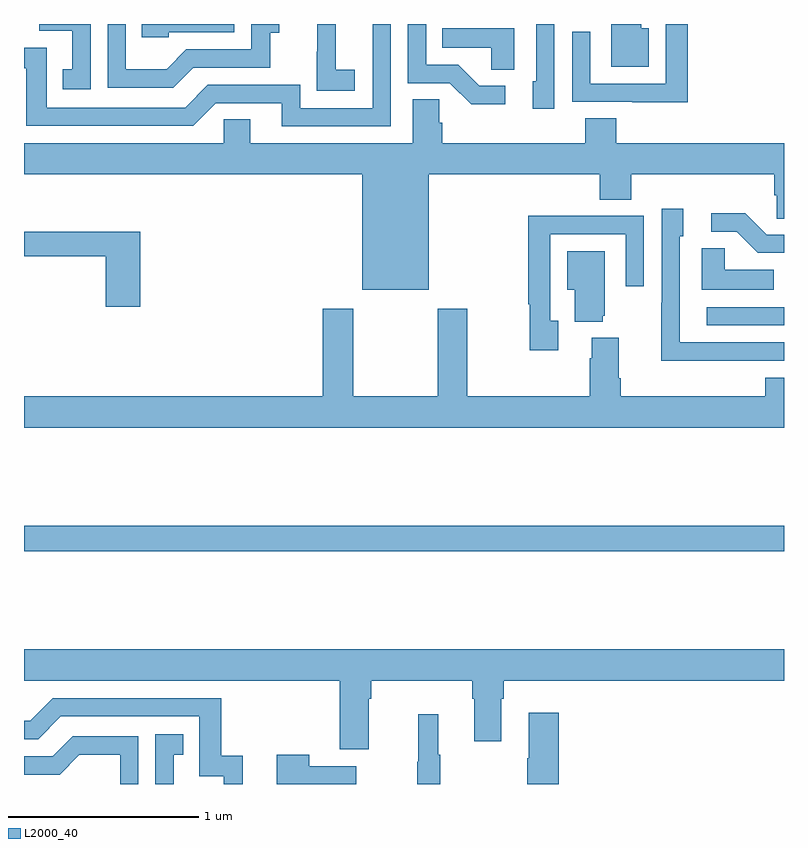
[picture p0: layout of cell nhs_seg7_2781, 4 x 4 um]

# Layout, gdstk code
import gdstk
lib = gdstk.Library(unit=1e-6, precision=1e-09)
def R(c, l, rs):  # rectangles x0, y0, x1, y1
    for r in rs: c.add(gdstk.rectangle(r[:2], r[2:], *l))
def P(c, l, *ps):  # polygons
    for p in ps: c.add(gdstk.Polygon(p, *l))
L2000_40 = (2000, 40)

nhs_seg7_2781 = lib.new_cell('nhs_seg7_2781')
R(nhs_seg7_2781, L2000_40, [(289,1073.224,293,1073.36), (292.593,1074.414,293,1074.51)])
P(nhs_seg7_2781, L2000_40, [(292.493,1076),(292.377,1076),(292.377,1075.686),(291.981,1075.686),(291.981,1075.96),(291.885,1075.96),(291.885,1075.59),(292.201,1075.59),(292.201,1075.589),(292.493,1075.589)],
  [(292.288,1075.978),(292.249,1075.978),(292.249,1076),(292.091,1076),(292.091,1075.775),(292.288,1075.775)],
  [(290.74,1075.759),(290.642,1075.759),(290.642,1075.988),(290.64,1075.988),(290.64,1076),(290.543,1076),(290.543,1075.855),(290.542,1075.855),(290.542,1075.649),(290.74,1075.649)],
  [(289.761,1075.956),(290.106,1075.956),(290.106,1076),(289.621,1076),(289.621,1075.929),(289.761,1075.929)],
  [(291.532,1075.674),(291.397,1075.674),(291.286,1075.785),(291.117,1075.785),(291.117,1076),(291.021,1076),(291.021,1075.689),(291.24,1075.689),(291.353,1075.577),(291.532,1075.577)],
  [(289.35,1076),(289.08,1076),(289.08,1075.965),(289.253,1075.965),(289.253,1075.761),(289.204,1075.761),(289.204,1075.656),(289.35,1075.656)],
  [(289.891,1075.77),(290.295,1075.77),(290.295,1075.955),(290.344,1075.955),(290.344,1076),(290.196,1076),(290.196,1075.866),(289.854,1075.866),(289.75,1075.762),(289.536,1075.762),(289.536,1076),(289.44,1076),(289.44,1075.665),(289.786,1075.665)],
  [(291.792,1076),(291.696,1076),(291.696,1075.698),(291.677,1075.698),(291.677,1075.554),(291.792,1075.554)],
  [(290.931,1076),(290.835,1076),(290.835,1075.557),(290.454,1075.557),(290.454,1075.68),(289.968,1075.68),(289.848,1075.56),(289.119,1075.56),(289.119,1075.875),(289,1075.875),(289,1075.767),(289.011,1075.767),(289.011,1075.464),(289.89,1075.464),(290.01,1075.584),(290.357,1075.584),(290.357,1075.461),(290.931,1075.461)],
  [(291.58,1075.978),(291.202,1075.978),(291.202,1075.874),(291.459,1075.874),(291.459,1075.759),(291.58,1075.759)],
  [(292.031,1075.075),(292.196,1075.075),(292.196,1075.208),(292.949,1075.208),(292.949,1075.099),(292.962,1075.099),(292.962,1074.976),(293,1074.976),(293,1075.372),(292.118,1075.372),(292.118,1075.505),(291.953,1075.505),(291.953,1075.372),(291.2,1075.372),(291.2,1075.481),(291.186,1075.481),(291.186,1075.604),(291.047,1075.604),(291.047,1075.372),(290.191,1075.372),(290.191,1075.499),(290.052,1075.499),(290.052,1075.372),(289,1075.372),(289,1075.208),(290.78,1075.208),(290.78,1074.602),(291.13,1074.602),(291.13,1075.208),(292.031,1075.208)],
  [(292.817,1074.228),(293,1074.228),(293,1074.324),(292.452,1074.324),(292.452,1074.882),(292.471,1074.882),(292.471,1075.027),(292.356,1075.027),(292.356,1074.533),(292.354,1074.533),(292.354,1074.227),(292.817,1074.227)],
  [(293,1074.891),(292.908,1074.891),(292.795,1075.004),(292.617,1075.004),(292.617,1074.906),(292.751,1074.906),(292.862,1074.795),(293,1074.795)],
  [(291.811,1074.438),(291.771,1074.438),(291.771,1074.894),(292.167,1074.894),(292.167,1074.621),(292.263,1074.621),(292.263,1074.99),(291.947,1074.99),(291.947,1074.992),(291.655,1074.992),(291.655,1074.526),(291.663,1074.526),(291.663,1074.282),(291.811,1074.282)],
  [(289.613,1074.907),(289,1074.907),(289,1074.778),(289.43,1074.778),(289.43,1074.513),(289.613,1074.513)],
  [(292.946,1074.706),(292.689,1074.706),(292.689,1074.821),(292.568,1074.821),(292.568,1074.602),(292.946,1074.602)],
  [(292.046,1074.465),(292.057,1074.465),(292.057,1074.805),(291.86,1074.805),(291.86,1074.602),(291.899,1074.602),(291.899,1074.434),(292.046,1074.434)],
  [(293,1074.139),(292.901,1074.139),(292.901,1074.04),(292.142,1074.04),(292.142,1074.136),(292.129,1074.136),(292.129,1074.349),(291.989,1074.349),(291.989,1074.242),(291.977,1074.242),(291.977,1074.04),(291.333,1074.04),(291.333,1074.502),(291.178,1074.502),(291.178,1074.04),(290.733,1074.04),(290.733,1074.502),(290.573,1074.502),(290.573,1074.04),(289,1074.04),(289,1073.876),(293,1073.876)],
  [(290.815,1072.448),(290.828,1072.448),(290.828,1072.544),(291.359,1072.544),(291.359,1072.448),(291.371,1072.448),(291.371,1072.224),(291.511,1072.224),(291.511,1072.448),(291.524,1072.448),(291.524,1072.544),(293,1072.544),(293,1072.708),(289,1072.708),(289,1072.544),(290.663,1072.544),(290.663,1072.182),(290.815,1072.182)],
  [(290.15,1072.15),(290.039,1072.15),(290.039,1072.452),(289.152,1072.452),(289.032,1072.332),(289,1072.332),(289,1072.236),(289.074,1072.236),(289.194,1072.356),(289.923,1072.356),(289.923,1072.041),(290.052,1072.041),(290.052,1072),(290.15,1072)],
  [(291.815,1072.375),(291.656,1072.375),(291.656,1072.136),(291.649,1072.136),(291.649,1072),(291.815,1072)],
  [(291.19,1072.153),(291.179,1072.153),(291.179,1072.366),(291.076,1072.366),(291.076,1072.116),(291.069,1072.116),(291.069,1072),(291.19,1072)],
  [(289.789,1072.155),(289.838,1072.155),(289.838,1072.261),(289.692,1072.261),(289.692,1072),(289.789,1072)],
  [(289.602,1072.251),(289.256,1072.251),(289.151,1072.146),(289,1072.146),(289,1072.05),(289.188,1072.05),(289.292,1072.154),(289.506,1072.154),(289.506,1072),(289.602,1072)],
  [(290.749,1072.093),(290.501,1072.093),(290.501,1072.153),(290.33,1072.153),(290.33,1072),(290.749,1072)])

lib.write_gds('nhs_seg7_2781.gds')
